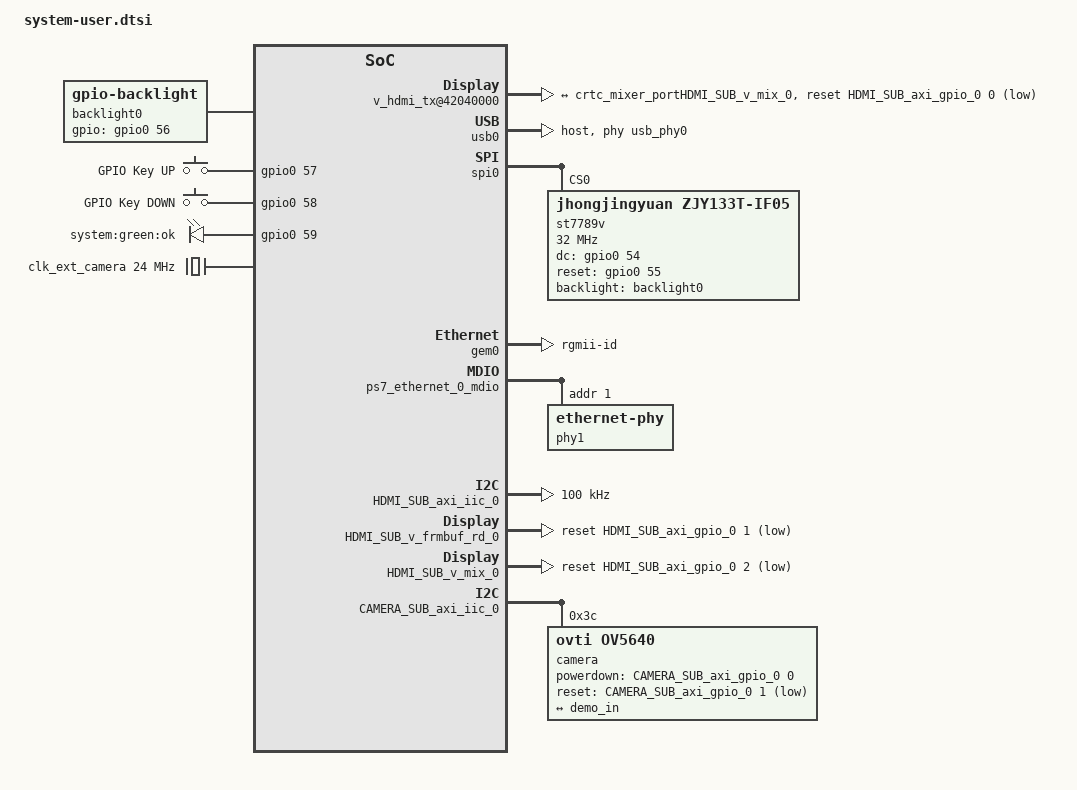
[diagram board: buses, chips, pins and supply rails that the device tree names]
// @Copyright@
// 
// Copyright (c) 2026, Van Linh (Ljnk975@gmail.com)
// 
// Redistribution and use in source and binary forms, with or without
// modification, are permitted provided that the following conditions are met:
// 
// 1. Redistributions of source code must retain the above copyright notice, this
//    list of conditions and the following disclaimer.
// 
// 2. Redistributions in binary form must reproduce the above copyright notice,
//    this list of conditions and the following disclaimer in the documentation
//    and/or other materials provided with the distribution.
// 
// 3. Neither the name of the copyright holder nor the names of its
//    contributors may be used to endorse or promote products derived from
//    this software without specific prior written permission.
// 
// THIS SOFTWARE IS PROVIDED BY THE COPYRIGHT HOLDERS AND CONTRIBUTORS "AS IS"
// AND ANY EXPRESS OR IMPLIED WARRANTIES, INCLUDING, BUT NOT LIMITED TO, THE
// IMPLIED WARRANTIES OF MERCHANTABILITY AND FITNESS FOR A PARTICULAR PURPOSE ARE
// DISCLAIMED. IN NO EVENT SHALL THE COPYRIGHT HOLDER OR CONTRIBUTORS BE LIABLE
// FOR ANY DIRECT, INDIRECT, INCIDENTAL, SPECIAL, EXEMPLARY, OR CONSEQUENTIAL
// DAMAGES (INCLUDING, BUT NOT LIMITED TO, PROCUREMENT OF SUBSTITUTE GOODS OR
// SERVICES; LOSS OF USE, DATA, OR PROFITS; OR BUSINESS INTERRUPTION) HOWEVER
// CAUSED AND ON ANY THEORY OF LIABILITY, WHETHER IN CONTRACT, STRICT LIABILITY,
// OR TORT (INCLUDING NEGLIGENCE OR OTHERWISE) ARISING IN ANY WAY OUT OF THE USE
// OF THIS SOFTWARE, EVEN IF ADVISED OF THE POSSIBILITY OF SUCH DAMAGE.
//

/include/ "system-conf.dtsi"

/ {
    usb_phy0: usb_phy@0 {
        compatible = "ulpi-phy";
        #phy-cells = <0>;
        reg = <0xe0002000 0x1000>;
        view-port = <0x0170>;
        drv-vbus;
    };

    backlight0: backlight {
        compatible = "gpio-backlight";
        gpios = <&gpio0 56 0>;
        default-on;
        status = "okay";
    };

    gpio-keys {
        compatible = "gpio-keys";

        up {
            label = "GPIO Key UP";
            linux,code = <103>;
            gpios = <&gpio0 57 0>;
        };

        down {
            label = "GPIO Key DOWN";
            linux,code = <108>;
            gpios = <&gpio0 58 0>;
        };
    };

    leds {
        compatible = "gpio-leds";

        heartbeat_led {
            label = "system:green:ok";
            gpios = <&gpio0 59 0>;
            default-state = "on";
            linux,default-trigger = "heartbeat";
        };
    };

    v_hdmi_tx@42040000 {
        compatible = "xlnx,v-hdmi-tx-min-1.0";
        reg = <0x42040000 0x10000>;
        clock-names = "pixel_clk";
        clocks = <&HDMI_SUB_clk_wiz_0 0>;
        reset-gpios = <&HDMI_SUB_axi_gpio_0 0 1>;
        ddc-i2c-bus = <&HDMI_SUB_axi_iic_0>;

        ports {
            #address-cells = <1>;
            #size-cells = <0>;

            port@0 {
                reg = <0>;
                hdmi_encoder: endpoint {
                    remote-endpoint = <&crtc_mixer_portHDMI_SUB_v_mix_0>;
                };
            };
        };
    };

    /*
    hdmi_connector: connector {
        compatible = "hdmi-connector";
        type = "a";

        ddc-i2c-bus = <&HDMI_SUB_axi_iic_0>;

        port {
            hdmi_encoder: endpoint {
                remote-endpoint = <&dmaengine_crtc>;
            };
        };
    };

    drm-pl-disp-drv {
        compatible = "xlnx,pl-disp";
        dmas = <&HDMI_SUB_v_frmbuf_rd_0 0>;
        dma-names = "dma0";
        xlnx,vformat = "RG24";
        // xlnx,bridge = <&HDMI_SUB_v_tc_0>;
        ports {
            #address-cells = <1>;
            #size-cells = <0>;

            port@0 {
                reg = <0>;
                dmaengine_crtc: endpoint {
                    remote-endpoint = <&hdmi_encoder>;
                };
            };
        };
    };
    */

    clk_ext_camera: camera-clock-osc24m {
        compatible = "fixed-clock";
        #clock-cells = <0>;
        clock-frequency = <24000000>;
    };
};

&usb0 {
    dr_mode = "host";
    usb-phy = <&usb_phy0>;
};

&spi0 {
    st7789v@0 {
        compatible = "jhongjingyuan,zjy133t-if05";
        reg = <0>;
        spi-max-frequency = <32000000>;
        // rotation = <180>;

        // Required GPIOs
        dc-gpios = <&gpio0 54 0>;
        reset-gpios = <&gpio0 55 0>;

        // Optional Properties
        backlight = <&backlight0>;
    };
};

&gem0 {
    phy-mode = "rgmii-id";
};

&ps7_ethernet_0_mdio {
    phy1: ethernet-phy@1 {
        reg = <1>;
        device_type = "ethernet-phy";
    };
};

&HDMI_SUB_axi_iic_0 {
    clock-frequency = <100000>;
};

&HDMI_SUB_v_frmbuf_rd_0 {
    reset-gpios = <&HDMI_SUB_axi_gpio_0 1 1>;
};

&HDMI_SUB_v_tc_0 {
    status = "disable";
};

&HDMI_SUB_v_mix_0 {
    reset-gpios = <&HDMI_SUB_axi_gpio_0 2 1>;
    xlnx,ppc = <3>;
    xlnx,video-format = <0>;
};

&xx_mix_masterHDMI_SUB_v_mix_0 {
    xlnx,vformat = "RG24";
};

&mixer_crtcHDMI_SUB_v_mix_0 {
    remote-endpoint = <&hdmi_encoder>;
};

&CAMERA_SUB_v_frmbuf_wr_0 {
    reset-gpios = <&CAMERA_SUB_axi_gpio_0 8 0>; // GPIO_ACTIVE_HIGH
};

&CAMERA_SUB_v_demosaic_0 {
    reset-gpios = <&CAMERA_SUB_axi_gpio_0 9 0>; // GPIO_ACTIVE_HIGH
};

&demosaic_port0CAMERA_SUB_v_demosaic_0 {
	demo_in: endpoint {
		remote-endpoint = <&camera_out>;
	};
};

&CAMERA_SUB_axi_iic_0 {
    camera@3c {
        compatible = "ovti,ov5640";
        reg = <0x3c>;
        clocks = <&clk_ext_camera>;
        clock-names = "xclk";
        powerdown-gpios = <&CAMERA_SUB_axi_gpio_0 0 0>; // GPIO_ACTIVE_HIGH
        reset-gpios = <&CAMERA_SUB_axi_gpio_0 1 1>; // GPIO_ACTIVE_LOW

        port {
            camera_out: endpoint {
                remote-endpoint = <&demo_in>;
                bus-width = <8>;
                data-shift = <2>; // lines 9:2 are used
                hsync-active = <0>;
                vsync-active = <0>;
                pclk-sample = <1>;
            };
        };
    };
};
